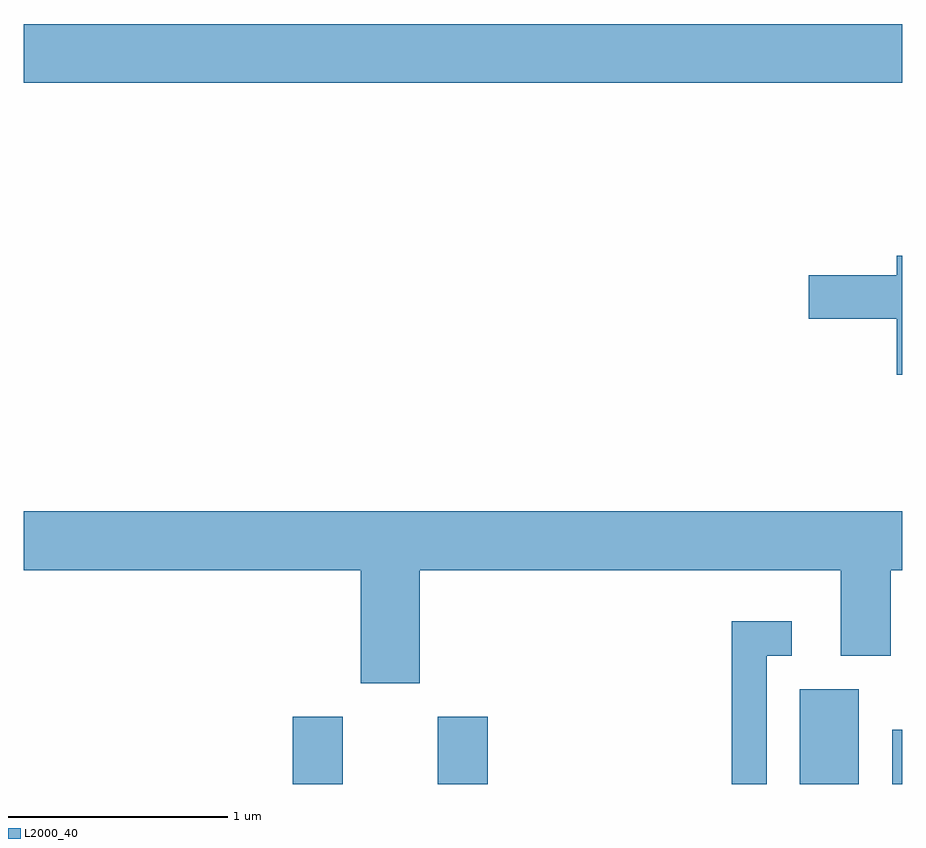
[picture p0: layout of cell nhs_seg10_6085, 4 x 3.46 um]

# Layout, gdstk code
import gdstk
lib = gdstk.Library(unit=1e-6, precision=1e-09)
def R(c, l, rs):  # rectangles x0, y0, x1, y1
    for r in rs: c.add(gdstk.rectangle(r[:2], r[2:], *l))
def P(c, l, *ps):  # polygons
    for p in ps: c.add(gdstk.Polygon(p, *l))
L2000_40 = (2000, 40)

nhs_seg10_6085 = lib.new_cell('nhs_seg10_6085')
R(nhs_seg10_6085, L2000_40, [(366.836,2088.522,367.064,2088.829), (367.496,2088.522,367.724,2088.829), (369.146,2088.522,369.414,2088.954), (369.566,2088.522,369.611,2088.769), (365.611,2091.716,369.611,2091.984)])
P(nhs_seg10_6085, L2000_40, [(369.611,2090.929),(369.586,2090.929),(369.586,2090.839),(369.186,2090.839),(369.186,2090.641),(369.586,2090.641),(369.586,2090.386),(369.611,2090.386)],
  [(367.414,2089.496),(369.331,2089.496),(369.331,2089.106),(369.559,2089.106),(369.559,2089.496),(369.611,2089.496),(369.611,2089.764),(365.611,2089.764),(365.611,2089.496),(367.146,2089.496),(367.146,2088.981),(367.414,2088.981)],
  [(368.994,2089.106),(369.108,2089.106),(369.108,2089.264),(368.836,2089.264),(368.836,2088.522),(368.994,2088.522)])

lib.write_gds('nhs_seg10_6085.gds')
